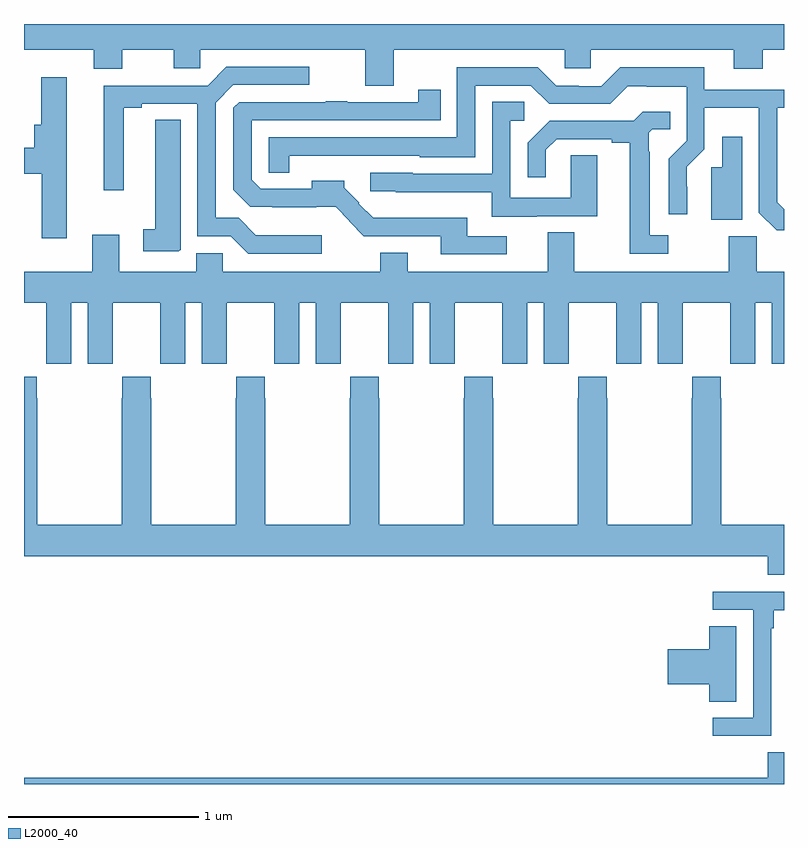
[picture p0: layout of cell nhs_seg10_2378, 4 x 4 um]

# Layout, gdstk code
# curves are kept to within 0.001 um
import gdstk
lib = gdstk.Library(unit=1e-6, precision=1e-09)
def P(c, l, *ps):  # polygons
    for p in ps: c.add(gdstk.Polygon(p, *l))
L2000_40 = (2000, 40)

nhs_seg10_2378 = lib.new_cell('nhs_seg10_2378')
P(nhs_seg10_2378, L2000_40, [(240.945,1252.364),(241.845,1252.364),(241.845,1252.266),(241.983,1252.266),(241.983,1252.364),(242.735,1252.364),(242.735,1252.265),(242.888,1252.265),(242.888,1252.364),(243,1252.364),(243,1252.5),(239,1252.5),(239,1252.364),(239.366,1252.364),(239.366,1252.265),(239.518,1252.265),(239.518,1252.364),(239.789,1252.364),(239.789,1252.266),(239.928,1252.266),(239.928,1252.364),(240.797,1252.364),(240.797,1252.174),(240.945,1252.174)],
  [(240.568,1251.388),(240.221,1251.388),(240.13,1251.479),(240.009,1251.479),(240.009,1252.086),(240.102,1252.179),(240.502,1252.179),(240.502,1252.275),(240.065,1252.275),(239.966,1252.176),(239.42,1252.176),(239.42,1251.624),(239.524,1251.624),(239.524,1252.06),(239.62,1252.06),(239.62,1252.08),(239.913,1252.08),(239.913,1251.384),(240.087,1251.384),(240.18,1251.291),(240.568,1251.291)],
  [(243,1251.525),(242.964,1251.561),(242.964,1252.059),(243,1252.059),(243,1252.155),(242.581,1252.155),(242.581,1252.273),(242.137,1252.273),(242.037,1252.173),(241.92,1252.173),(241.92,1252.176),(241.8,1252.176),(241.704,1252.272),(241.278,1252.272),(241.278,1251.903),(240.288,1251.903),(240.288,1251.718),(240.397,1251.718),(240.397,1251.806),(241.083,1251.807),(241.083,1251.8),(241.374,1251.8),(241.374,1252.176),(241.668,1252.176),(241.764,1252.08),(242.085,1252.08),(242.178,1252.173),(242.278,1252.173),(242.278,1252.169),(242.487,1252.169),(242.487,1251.885),(242.394,1251.792),(242.394,1251.498),(242.49,1251.498),(242.489,1251.75),(242.58,1251.842),(242.58,1252.058),(242.868,1252.058),(242.868,1251.507),(242.961,1251.415),(243,1251.415)],
  [(239.224,1252.219),(239.09,1252.219),(239.09,1251.97),(239.054,1251.97),(239.054,1251.848),(239,1251.848),(239,1251.712),(239.093,1251.712),(239.093,1251.372),(239.224,1251.372)],
  [(241.54,1251.384),(241.333,1251.384),(241.333,1251.481),(240.94,1251.481),(240.94,1251.479),(240.839,1251.479),(240.762,1251.555),(240.765,1251.558),(240.686,1251.637),(240.686,1251.676),(240.515,1251.676),(240.515,1251.633),(240.246,1251.633),(240.198,1251.681),(240.198,1251.993),(241.193,1251.993),(241.193,1252.153),(241.075,1252.153),(241.075,1252.089),(240.701,1252.089),(240.701,1252.094),(240.589,1252.094),(240.589,1252.089),(240.132,1252.089),(240.102,1252.059),(240.102,1251.627),(240.191,1251.538),(240.307,1251.538),(240.307,1251.536),(240.641,1251.537),(240.715,1251.463),(240.713,1251.461),(240.789,1251.384),(241.193,1251.384),(241.193,1251.288),(241.54,1251.288)],
  [(241.699,1251.489),(242.017,1251.489),(242.017,1251.809),(241.878,1251.809),(241.878,1251.585),(241.56,1251.585),(241.56,1251.99),(241.633,1251.99),(241.633,1252.091),(241.464,1252.091),(241.464,1251.711),(241.047,1251.711),(241.047,1251.717),(240.822,1251.717),(240.822,1251.621),(240.957,1251.621),(240.957,1251.614),(241.463,1251.614),(241.463,1251.485),(241.699,1251.485)],
  [(242.392,1251.387),(242.293,1251.387),(242.293,1251.827),(242.289,1251.827),(242.289,1251.927),(242.307,1251.945),(242.402,1251.945),(242.402,1252.037),(242.256,1252.037),(242.208,1251.99),(241.766,1251.99),(241.65,1251.874),(241.65,1251.693),(241.747,1251.693),(241.747,1251.837),(241.804,1251.894),(242.093,1251.894),(242.093,1251.874),(242.189,1251.874),(242.189,1251.291),(242.392,1251.291)],
  [(239.824,1251.313),(239.824,1251.995),(239.69,1251.995),(239.69,1251.419),(239.628,1251.419),(239.628,1251.303),(239.814,1251.303)],
  [(242.779,1251.907),(242.675,1251.907),(242.675,1251.747),(242.618,1251.747),(242.618,1251.469),(242.779,1251.469)],
  [(239.248,1251.032),(239.336,1251.032),(239.336,1250.712),(239.466,1250.712),(239.466,1250.824),(239.467,1250.824),(239.467,1251.032),(239.717,1251.032),(239.717,1250.824),(239.718,1250.824),(239.718,1250.712),(239.848,1250.712),(239.848,1251.032),(239.936,1251.032),(239.936,1250.712),(240.066,1250.712),(240.066,1250.824),(240.067,1250.824),(240.067,1251.032),(240.317,1251.032),(240.317,1250.824),(240.318,1250.824),(240.318,1250.712),(240.448,1250.712),(240.448,1251.032),(240.536,1251.032),(240.536,1250.712),(240.666,1250.712),(240.666,1250.824),(240.667,1250.824),(240.667,1251.032),(240.917,1251.032),(240.917,1250.824),(240.918,1250.824),(240.918,1250.712),(241.048,1250.712),(241.048,1251.032),(241.136,1251.032),(241.136,1250.712),(241.266,1250.712),(241.266,1250.824),(241.267,1250.824),(241.267,1251.032),(241.517,1251.032),(241.517,1250.824),(241.518,1250.824),(241.518,1250.712),(241.648,1250.712),(241.648,1251.032),(241.736,1251.032),(241.736,1250.712),(241.866,1250.712),(241.866,1250.824),(241.867,1250.824),(241.867,1251.032),(242.117,1251.032),(242.117,1250.824),(242.118,1250.824),(242.118,1250.712),(242.248,1250.712),(242.248,1251.032),(242.336,1251.032),(242.336,1250.712),(242.466,1250.712),(242.466,1250.824),(242.467,1250.824),(242.467,1251.032),(242.717,1251.032),(242.717,1250.824),(242.718,1250.824),(242.718,1250.712),(242.848,1250.712),(242.848,1251.032),(242.936,1251.032),(242.936,1250.712),(243,1250.712),(243,1251.196),(242.856,1251.196),(242.856,1251.384),(242.71,1251.384),(242.71,1251.196),(241.897,1251.196),(241.897,1251.404),(241.757,1251.404),(241.757,1251.196),(241.021,1251.196),(241.021,1251.295),(240.874,1251.295),(240.874,1251.196),(240.045,1251.196),(240.045,1251.294),(239.906,1251.294),(239.906,1251.196),(239.5,1251.196),(239.5,1251.391),(239.36,1251.391),(239.36,1251.196),(239,1251.196),(239,1251.032),(239.117,1251.032),(239.117,1250.824),(239.118,1250.824),(239.118,1250.712),(239.248,1250.712)],
  [(243,1249.864),(242.67,1249.864),(242.67,1250.531),(242.667,1250.531),(242.667,1250.644),(242.517,1250.644),(242.517,1250.531),(242.515,1250.531),(242.515,1249.864),(242.07,1249.864),(242.07,1250.531),(242.067,1250.531),(242.067,1250.644),(241.917,1250.644),(241.917,1250.531),(241.915,1250.531),(241.915,1249.864),(241.47,1249.864),(241.47,1250.531),(241.467,1250.531),(241.467,1250.644),(241.317,1250.644),(241.317,1250.531),(241.315,1250.531),(241.315,1249.864),(240.87,1249.864),(240.87,1250.531),(240.867,1250.531),(240.867,1250.644),(240.717,1250.644),(240.717,1250.531),(240.715,1250.531),(240.715,1249.864),(240.27,1249.864),(240.27,1250.531),(240.267,1250.531),(240.267,1250.644),(240.117,1250.644),(240.117,1250.531),(240.115,1250.531),(240.115,1249.864),(239.67,1249.864),(239.67,1250.531),(239.667,1250.531),(239.667,1250.644),(239.517,1250.644),(239.517,1250.531),(239.515,1250.531),(239.515,1249.864),(239.07,1249.864),(239.07,1250.531),(239.067,1250.531),(239.067,1250.644),(239,1250.644),(239,1249.7),(242.915,1249.7),(242.915,1249.601),(243,1249.601)],
  [(242.934,1249.319),(242.947,1249.319),(242.947,1249.415),(243,1249.415),(243,1249.512),(242.625,1249.512),(242.625,1249.416),(242.838,1249.416),(242.838,1248.849),(242.625,1248.849),(242.625,1248.753),(242.934,1248.753)],
  [(242.749,1249.331),(242.606,1249.331),(242.606,1249.208),(242.388,1249.208),(242.388,1249.025),(242.606,1249.025),(242.606,1248.934),(242.749,1248.934)],
  [(243,1248.667),(242.915,1248.667),(242.915,1248.532),(239,1248.532),(239,1248.5),(243,1248.5)])

lib.write_gds('nhs_seg10_2378.gds')
